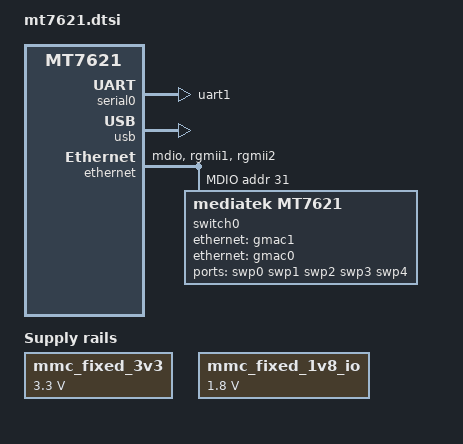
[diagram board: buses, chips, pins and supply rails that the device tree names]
// SPDX-License-Identifier: (GPL-2.0-only OR BSD-2-Clause)
#include <dt-bindings/interrupt-controller/mips-gic.h>
#include <dt-bindings/gpio/gpio.h>
#include <dt-bindings/clock/mt7621-clk.h>
#include <dt-bindings/reset/mt7621-reset.h>

/ {
	compatible = "mediatek,mt7621-soc";

	#address-cells = <1>;
	#size-cells = <1>;

	cpus {
		#address-cells = <1>;
		#size-cells = <0>;

		cpu@0 {
			compatible = "mips,mips1004Kc";
			reg = <0>;
			device_type = "cpu";
		};

		cpu@1 {
			compatible = "mips,mips1004Kc";
			reg = <1>;
			device_type = "cpu";
		};
	};

	cpuintc: cpuintc {
		compatible = "mti,cpu-interrupt-controller";

		#address-cells = <0>;
		#interrupt-cells = <1>;

		interrupt-controller;
	};

	mmc_fixed_3v3: regulator-3v3 {
		compatible = "regulator-fixed";

		enable-active-high;

		regulator-always-on;
		regulator-max-microvolt = <3300000>;
		regulator-min-microvolt = <3300000>;
		regulator-name = "mmc_power";
	};

	mmc_fixed_1v8_io: regulator-1v8 {
		compatible = "regulator-fixed";

		enable-active-high;

		regulator-always-on;
		regulator-max-microvolt = <1800000>;
		regulator-min-microvolt = <1800000>;
		regulator-name = "mmc_io";
	};

	pinctrl: pinctrl {
		compatible = "ralink,mt7621-pinctrl";

		i2c_pins: i2c0-pins {
			pinmux {
				groups = "i2c";
				function = "i2c";
			};
		};

		mdio_pins: mdio0-pins {
			pinmux {
				groups = "mdio";
				function = "mdio";
			};
		};

		nand_pins: nand0-pins {
			sdhci-pinmux {
				groups = "sdhci";
				function = "nand2";
			};

			spi-pinmux {
				groups = "spi";
				function = "nand1";
			};
		};

		pcie_pins: pcie0-pins {
			pinmux {
				groups = "pcie";
				function = "gpio";
			};
		};

		rgmii1_pins: rgmii1-pins {
			pinmux {
				groups = "rgmii1";
				function = "rgmii1";
			};
		};

		rgmii2_pins: rgmii2-pins {
			pinmux {
				groups = "rgmii2";
				function = "rgmii2";
			};
		};

		sdhci_pins: sdhci0-pins {
			pinmux {
				groups = "sdhci";
				function = "sdhci";
			};
		};

		spi_pins: spi0-pins {
			pinmux {
				groups = "spi";
				function = "spi";
			};
		};

		uart1_pins: uart1-pins {
			pinmux {
				groups = "uart1";
				function = "uart1";
			};
		};

		uart2_pins: uart2-pins {
			pinmux {
				groups = "uart2";
				function = "uart2";
			};
		};

		uart3_pins: uart3-pins {
			pinmux {
				groups = "uart3";
				function = "uart3";
			};
		};
	};

	palmbus: palmbus@1e000000 {
		compatible = "palmbus";
		reg = <0x1e000000 0x100000>;
		ranges = <0x0 0x1e000000 0x0fffff>;

		#address-cells = <1>;
		#size-cells = <1>;

		sysc: syscon@0 {
			compatible = "mediatek,mt7621-sysc", "syscon";
			reg = <0x0 0x100>;

			#clock-cells = <1>;
			#reset-cells = <1>;

			clock-output-names = "xtal", "cpu", "bus",
					     "50m", "125m", "150m",
					     "250m", "270m";

			ralink,memctl = <&memc>;
		};

		wdt: watchdog@100 {
			compatible = "mediatek,mt7621-wdt";
			reg = <0x100 0x100>;
			mediatek,sysctl = <&sysc>;
		};

		gpio: gpio@600 {
			compatible = "mediatek,mt7621-gpio";
			reg = <0x600 0x100>;

			#gpio-cells = <2>;
			#interrupt-cells = <2>;

			gpio-controller;
			gpio-ranges = <&pinctrl 0 0 95>;

			interrupt-controller;
			interrupt-parent = <&gic>;
			interrupts = <GIC_SHARED 12 IRQ_TYPE_LEVEL_HIGH>;
		};

		i2c: i2c@900 {
			compatible = "mediatek,mt7621-i2c";
			reg = <0x900 0x100>;

			#address-cells = <1>;
			#size-cells = <0>;

			clocks = <&sysc MT7621_CLK_I2C>;
			clock-names = "i2c";

			pinctrl-names = "default";
			pinctrl-0 = <&i2c_pins>;

			resets = <&sysc MT7621_RST_I2C>;
			reset-names = "i2c";

			status = "disabled";
		};

		memc: memory-controller@5000 {
			compatible = "mediatek,mt7621-memc", "syscon";
			reg = <0x5000 0x1000>;
		};

		serial0: serial@c00 {
			compatible = "ns16550a";
			reg = <0xc00 0x100>;

			reg-io-width = <4>;
			reg-shift = <2>;

			clocks = <&sysc MT7621_CLK_UART1>;

			interrupt-parent = <&gic>;
			interrupts = <GIC_SHARED 26 IRQ_TYPE_LEVEL_HIGH>;

			no-loopback-test;

			pinctrl-names = "default";
			pinctrl-0 = <&uart1_pins>;
		};

		serial1: serial@d00 {
			compatible = "ns16550a";
			reg = <0xd00 0x100>;

			reg-io-width = <4>;
			reg-shift = <2>;

			clocks = <&sysc MT7621_CLK_UART2>;

			interrupt-parent = <&gic>;
			interrupts = <GIC_SHARED 27 IRQ_TYPE_LEVEL_HIGH>;

			no-loopback-test;

			pinctrl-names = "default";
			pinctrl-0 = <&uart2_pins>;

			status = "disabled";
		};

		serial2: serial@e00 {
			compatible = "ns16550a";
			reg = <0xe00 0x100>;

			reg-io-width = <4>;
			reg-shift = <2>;

			clocks = <&sysc MT7621_CLK_UART3>;

			interrupt-parent = <&gic>;
			interrupts = <GIC_SHARED 28 IRQ_TYPE_LEVEL_HIGH>;

			no-loopback-test;

			pinctrl-names = "default";
			pinctrl-0 = <&uart3_pins>;

			status = "disabled";
		};

		spi0: spi@b00 {
			compatible = "ralink,mt7621-spi";
			reg = <0xb00 0x100>;

			#address-cells = <1>;
			#size-cells = <0>;

			clock-names = "spi";
			clocks = <&sysc MT7621_CLK_SPI>;

			pinctrl-names = "default";
			pinctrl-0 = <&spi_pins>;

			reset-names = "spi";
			resets = <&sysc MT7621_RST_SPI>;

			status = "disabled";
		};
	};

	mmc: mmc@1e130000 {
		compatible = "mediatek,mt7620-mmc";
		reg = <0x1e130000 0x4000>;

		bus-width = <4>;

		cap-mmc-highspeed;
		cap-sd-highspeed;

		clocks = <&sysc MT7621_CLK_SHXC>,
			 <&sysc MT7621_CLK_50M>;
		clock-names = "source", "hclk";

		disable-wp;

		interrupt-parent = <&gic>;
		interrupts = <GIC_SHARED 20 IRQ_TYPE_LEVEL_HIGH>;

		max-frequency = <48000000>;

		pinctrl-names = "default", "state_uhs";
		pinctrl-0 = <&sdhci_pins>;
		pinctrl-1 = <&sdhci_pins>;

		vmmc-supply = <&mmc_fixed_3v3>;
		vqmmc-supply = <&mmc_fixed_1v8_io>;

		status = "disabled";
	};

	usb: usb@1e1c0000 {
		compatible = "mediatek,mt8173-xhci", "mediatek,mtk-xhci";
		reg = <0x1e1c0000 0x1000
		       0x1e1d0700 0x0100>;
		reg-names = "mac", "ippc";

		#address-cells = <1>;
		#size-cells = <0>;

		clocks = <&sysc MT7621_CLK_XTAL>;
		clock-names = "sys_ck";

		interrupt-parent = <&gic>;
		interrupts = <GIC_SHARED 22 IRQ_TYPE_LEVEL_HIGH>;
	};

	gic: interrupt-controller@1fbc0000 {
		compatible = "mti,gic";
		reg = <0x1fbc0000 0x2000>;

		#interrupt-cells = <3>;
		interrupt-controller;

		mti,reserved-cpu-vectors = <7>;

		timer {
			compatible = "mti,gic-timer";
			clocks = <&sysc MT7621_CLK_CPU>;
			interrupts = <GIC_LOCAL 1 IRQ_TYPE_NONE>;
		};
	};

	cpc: cpc@1fbf0000 {
		compatible = "mti,mips-cpc";
		reg = <0x1fbf0000 0x8000>;
	};

	cdmm: cdmm@1fbf8000 {
		compatible = "mti,mips-cdmm";
		reg = <0x1fbf8000 0x8000>;
	};

	ethernet: ethernet@1e100000 {
		compatible = "mediatek,mt7621-eth";
		reg = <0x1e100000 0x10000>;

		#address-cells = <1>;
		#size-cells = <0>;

		clock-names = "fe", "ethif";
		clocks = <&sysc MT7621_CLK_FE>, <&sysc MT7621_CLK_ETH>;

		interrupt-parent = <&gic>;
		interrupts = <GIC_SHARED 3 IRQ_TYPE_LEVEL_HIGH>;

		pinctrl-names = "default";
		pinctrl-0 = <&mdio_pins>, <&rgmii1_pins>, <&rgmii2_pins>;

		reset-names = "fe", "eth";
		resets = <&sysc MT7621_RST_FE>, <&sysc MT7621_RST_ETH>;

		mediatek,ethsys = <&sysc>;

		mdio: mdio-bus {
			#address-cells = <1>;
			#size-cells = <0>;

			switch0: switch@1f {
				compatible = "mediatek,mt7621";
				reg = <0x1f>;

				#interrupt-cells = <1>;
				interrupt-controller;
				interrupts = <GIC_SHARED 23 IRQ_TYPE_LEVEL_HIGH>;

				reset-names = "mcm";
				resets = <&sysc MT7621_RST_MCM>;

				mediatek,mcm;

				ports {
					#address-cells = <1>;
					#size-cells = <0>;

					port@0 {
						reg = <0>;
						label = "swp0";
						status = "disabled";
					};

					port@1 {
						reg = <1>;
						label = "swp1";
						status = "disabled";
					};

					port@2 {
						reg = <2>;
						label = "swp2";
						status = "disabled";
					};

					port@3 {
						reg = <3>;
						label = "swp3";
						status = "disabled";
					};

					port@4 {
						reg = <4>;
						label = "swp4";
						status = "disabled";
					};

					port@5 {
						reg = <5>;

						ethernet = <&gmac1>;
						phy-mode = "rgmii";

						fixed-link {
							full-duplex;
							pause;
							speed = <1000>;
						};
					};

					port@6 {
						reg = <6>;

						ethernet = <&gmac0>;
						phy-mode = "trgmii";

						fixed-link {
							full-duplex;
							pause;
							speed = <1000>;
						};
					};
				};
			};
		};

		gmac0: mac@0 {
			compatible = "mediatek,eth-mac";
			reg = <0>;

			phy-mode = "trgmii";

			fixed-link {
				full-duplex;
				pause;
				speed = <1000>;
			};
		};

		gmac1: mac@1 {
			compatible = "mediatek,eth-mac";
			reg = <1>;

			phy-mode = "rgmii";

			fixed-link {
				full-duplex;
				pause;
				speed = <1000>;
			};
		};

	};

	pcie: pcie@1e140000 {
		compatible = "mediatek,mt7621-pci";
		reg = <0x1e140000 0x100>, /* host-pci bridge registers */
		      <0x1e142000 0x100>, /* pcie port 0 RC control registers */
		      <0x1e143000 0x100>, /* pcie port 1 RC control registers */
		      <0x1e144000 0x100>; /* pcie port 2 RC control registers */
		ranges = <0x02000000 0 0x60000000 0x60000000 0 0x10000000>, /* pci memory */
			 <0x01000000 0 0x00000000 0x1e160000 0 0x00010000>; /* io space */

		#address-cells = <3>;
		#interrupt-cells = <1>;
		#size-cells = <2>;

		device_type = "pci";

		interrupt-map-mask = <0xf800 0 0 0>;
		interrupt-map = <0x0000 0 0 0 &gic GIC_SHARED  4 IRQ_TYPE_LEVEL_HIGH>,
				<0x0800 0 0 0 &gic GIC_SHARED 24 IRQ_TYPE_LEVEL_HIGH>,
				<0x1000 0 0 0 &gic GIC_SHARED 25 IRQ_TYPE_LEVEL_HIGH>;

		pinctrl-names = "default";
		pinctrl-0 = <&pcie_pins>;

		reset-gpios = <&gpio 19 GPIO_ACTIVE_LOW>;

		status = "disabled";

		pcie@0,0 {
			reg = <0x0000 0 0 0 0>;
			ranges;

			#address-cells = <3>;
			#interrupt-cells = <1>;
			#size-cells = <2>;

			clocks = <&sysc MT7621_CLK_PCIE0>;

			device_type = "pci";

			interrupt-map-mask = <0 0 0 0>;
			interrupt-map = <0 0 0 0 &gic GIC_SHARED 4 IRQ_TYPE_LEVEL_HIGH>;

			phy-names = "pcie-phy0";
			phys = <&pcie0_phy 1>;

			resets = <&sysc MT7621_RST_PCIE0>;
		};

		pcie@1,0 {
			reg = <0x0800 0 0 0 0>;
			ranges;

			#address-cells = <3>;
			#interrupt-cells = <1>;
			#size-cells = <2>;

			clocks = <&sysc MT7621_CLK_PCIE1>;

			device_type = "pci";

			interrupt-map-mask = <0 0 0 0>;
			interrupt-map = <0 0 0 0 &gic GIC_SHARED 24 IRQ_TYPE_LEVEL_HIGH>;

			phy-names = "pcie-phy1";
			phys = <&pcie0_phy 1>;

			resets = <&sysc MT7621_RST_PCIE1>;
		};

		pcie@2,0 {
			reg = <0x1000 0 0 0 0>;
			ranges;

			#address-cells = <3>;
			#interrupt-cells = <1>;
			#size-cells = <2>;

			clocks = <&sysc MT7621_CLK_PCIE2>;

			device_type = "pci";

			interrupt-map-mask = <0 0 0 0>;
			interrupt-map = <0 0 0 0 &gic GIC_SHARED 25 IRQ_TYPE_LEVEL_HIGH>;

			phy-names = "pcie-phy2";
			phys = <&pcie2_phy 0>;

			resets = <&sysc MT7621_RST_PCIE2>;
		};
	};

	pcie0_phy: pcie-phy@1e149000 {
		compatible = "mediatek,mt7621-pci-phy";
		reg = <0x1e149000 0x0700>;

		#phy-cells = <1>;

		clocks = <&sysc MT7621_CLK_XTAL>;
	};

	pcie2_phy: pcie-phy@1e14a000 {
		compatible = "mediatek,mt7621-pci-phy";
		reg = <0x1e14a000 0x0700>;

		#phy-cells = <1>;

		clocks = <&sysc MT7621_CLK_XTAL>;
	};
};
